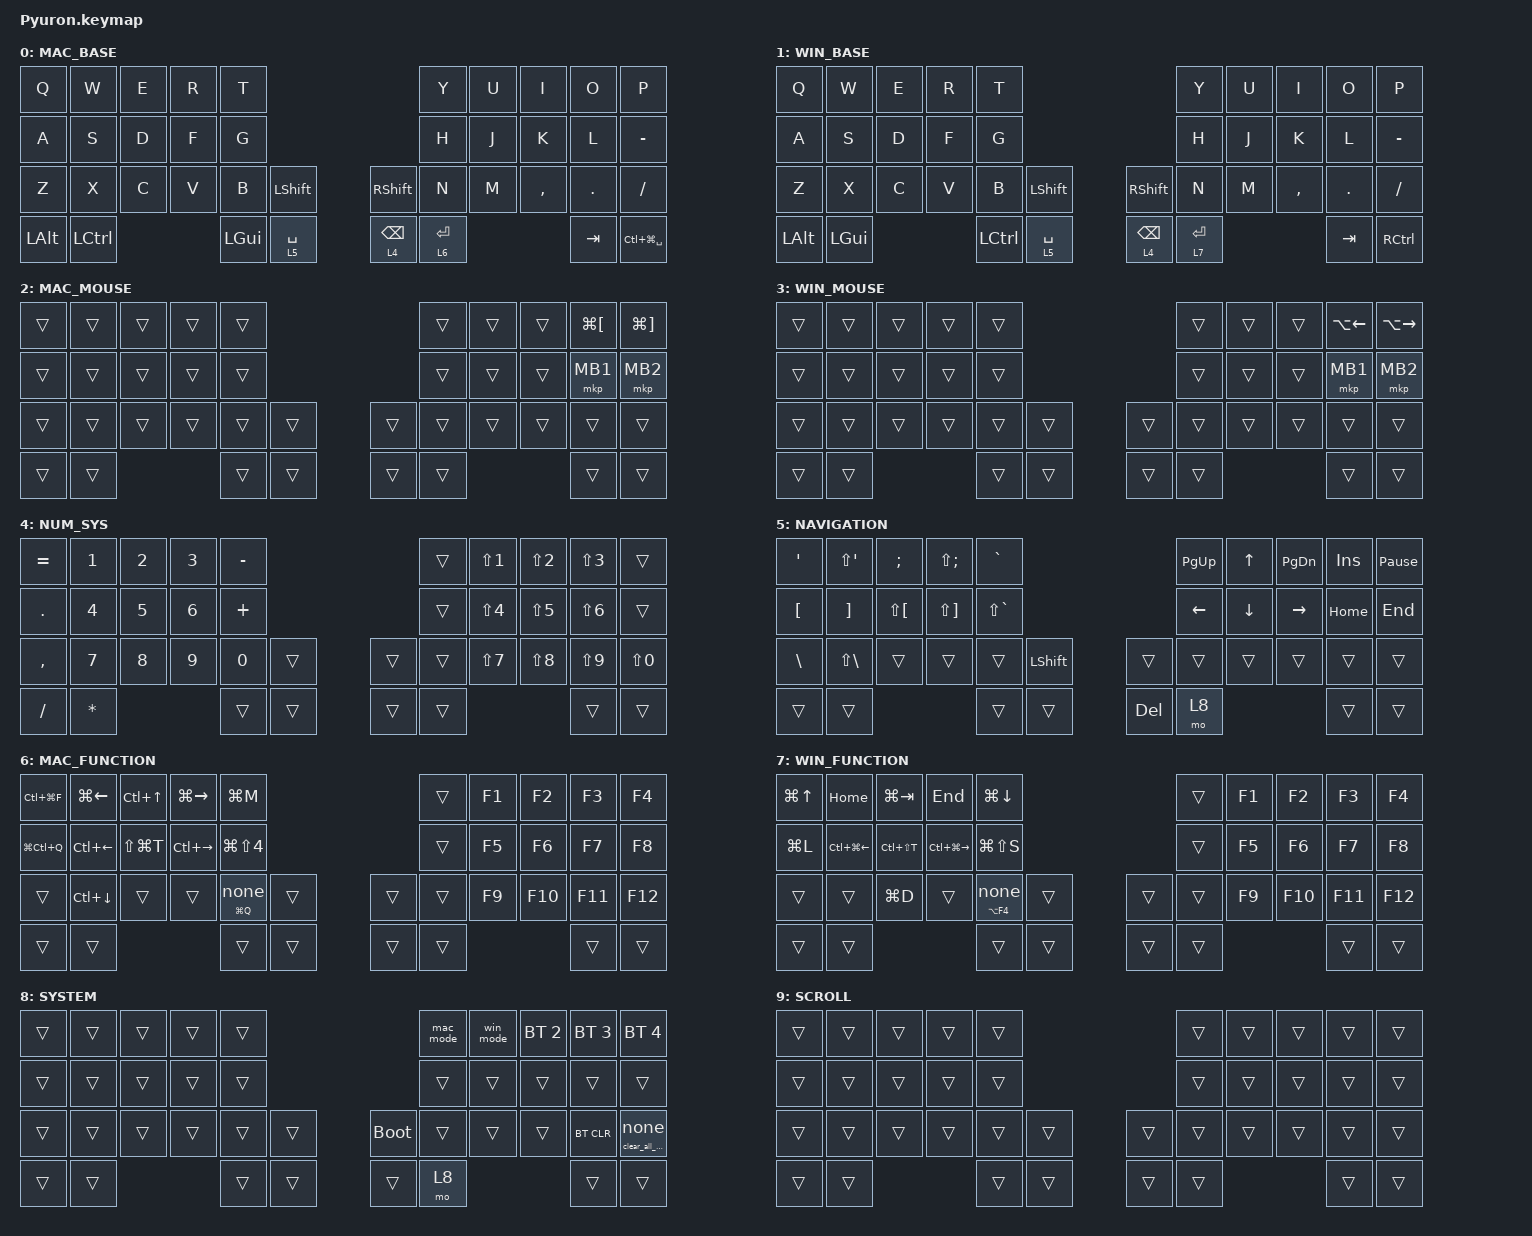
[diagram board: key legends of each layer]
#include <behaviors.dtsi>
#include <dt-bindings/zmk/bt.h>
#include <dt-bindings/zmk/keys.h>
#include <dt-bindings/zmk/pointing.h>

#define MOUSE 2

&zip_temp_layer {
    excluded-positions = <8 9 18 19 25 26 32 33 34 39>;
    require-prior-idle-ms = <200>;
};

/ {
    behaviors {
        // Require a full hold so a brief press cannot close the active work.
        exit_hold: exit_hold {
            compatible = "zmk,behavior-hold-tap";
            #binding-cells = <2>;
            flavor = "tap-preferred";
            tapping-term-ms = <1000>;
            bindings = <&kp>, <&none>;
        };

        // Destructive action must wait for the full hold even if another key is pressed.
        bt_clear_hold: bt_clear_hold {
            compatible = "zmk,behavior-hold-tap";
            #binding-cells = <2>;
            flavor = "tap-preferred";
            tapping-term-ms = <1500>;
            bindings = <&clear_all_bonds>, <&none>;
        };
    };

    combos {
        compatible = "zmk,combos";

        combo_esc {
            timeout-ms = <50>;
            key-positions = <0 1>;
            bindings = <&kp ESC>;
            layers = <0 1>;
        };

        combo_eisu {
            timeout-ms = <50>;
            key-positions = <11 12>;
            bindings = <&eisu_input>;
            layers = <0 1 2 3>;
        };

        combo_kana {
            timeout-ms = <50>;
            key-positions = <17 18>;
            bindings = <&kana_input>;
            layers = <0 1 2 3>;
        };

        combo_scroll {
            timeout-ms = <50>;
            key-positions = <18 19>;
            bindings = <&mo 9>;
            layers = <2 3>;
        };

    };

    macros {
        kana_input: kana_input {
            compatible = "zmk,behavior-macro";
            #binding-cells = <0>;
            wait-ms = <0>;
            tap-ms = <30>;
            // Return to typing immediately after selecting the input language.
            bindings = <&macro_tap &kp LANG1>, <&macro_release &mo MOUSE>;
        };

        eisu_input: eisu_input {
            compatible = "zmk,behavior-macro";
            #binding-cells = <0>;
            wait-ms = <0>;
            tap-ms = <30>;
            // Return to typing immediately after selecting the input language.
            bindings = <&macro_tap &kp LANG2>, <&macro_release &mo MOUSE>;
        };

        clear_all_bonds: clear_all_bonds {
            compatible = "zmk,behavior-macro";
            #binding-cells = <0>;
            bindings = <&bt BT_CLR_ALL>;
        };
        mac_mode: mac_mode {
            compatible = "zmk,behavior-macro";
            #binding-cells = <0>;
            bindings = <&bt BT_SEL 0>, <&macro_wait_time 200>, <&to 0>;
        };
        win_mode: win_mode {
            compatible = "zmk,behavior-macro";
            #binding-cells = <0>;
            bindings = <&bt BT_SEL 1>, <&macro_wait_time 200>, <&to 1>;
        };
    };

    // Windows overrides mouse shortcuts only while the mouse layer is active.
    conditional_layers {
        compatible = "zmk,conditional-layers";
        windows_mouse {
            if-layers = <1 2>;
            then-layer = <3>;
        };
    };

    // Utility layers override mouse bindings and suppress language combos while active.
    keymap {
        compatible = "zmk,keymap";

        MAC_BASE {
            bindings = <
&kp Q                    &kp W                    &kp E                    &kp R                    &kp T                    &kp Y                    &kp U                    &kp I                    &kp O                    &kp P
&kp A                    &kp S                    &kp D                    &kp F                    &kp G                    &kp H                    &kp J                    &kp K                    &kp L                    &kp MINUS
&kp Z                    &kp X                    &kp C                    &kp V                    &kp B                    &kp LEFT_SHIFT           &kp RIGHT_SHIFT          &kp N                    &kp M                    &kp COMMA
&kp DOT                  &kp SLASH                &kp LEFT_ALT             &kp LCTRL                &kp LGUI                 &lt 5 SPACE              &lt 4 BSPC               &lt 6 ENTER              &kp TAB                  &kp LC(LG(SPACE))
            >;
        };

        WIN_BASE {
            bindings = <
&kp Q                    &kp W                    &kp E                    &kp R                    &kp T                    &kp Y                    &kp U                    &kp I                    &kp O                    &kp P
&kp A                    &kp S                    &kp D                    &kp F                    &kp G                    &kp H                    &kp J                    &kp K                    &kp L                    &kp MINUS
&kp Z                    &kp X                    &kp C                    &kp V                    &kp B                    &kp LEFT_SHIFT           &kp RIGHT_SHIFT          &kp N                    &kp M                    &kp COMMA
&kp DOT                  &kp SLASH                &kp LEFT_ALT             &kp LGUI                 &kp LCTRL                &lt 5 SPACE              &lt 4 BSPC               &lt 7 ENTER              &kp TAB                  &kp RCTRL
            >;
        };

        MAC_MOUSE {
            bindings = <
&trans                   &trans                   &trans                   &trans                   &trans                   &trans                   &trans                   &trans                   &kp LG(LBKT)             &kp LG(RBKT)
&trans                   &trans                   &trans                   &trans                   &trans                   &trans                   &trans                   &trans                   &mkp MB1                 &mkp MB2
&trans                   &trans                   &trans                   &trans                   &trans                   &trans                   &trans                   &trans                   &trans                   &trans
&trans                   &trans                   &trans                   &trans                   &trans                   &trans                   &trans                   &trans                   &trans                   &trans
            >;
        };

        WIN_MOUSE {
            bindings = <
&trans                   &trans                   &trans                   &trans                   &trans                   &trans                   &trans                   &trans                   &kp LA(LEFT)             &kp LA(RIGHT)
&trans                   &trans                   &trans                   &trans                   &trans                   &trans                   &trans                   &trans                   &mkp MB1                 &mkp MB2
&trans                   &trans                   &trans                   &trans                   &trans                   &trans                   &trans                   &trans                   &trans                   &trans
&trans                   &trans                   &trans                   &trans                   &trans                   &trans                   &trans                   &trans                   &trans                   &trans
            >;
        };

        NUM_SYS {
            bindings = <
&kp EQUAL                &kp N1                   &kp N2                   &kp N3                   &kp MINUS                &trans                   &kp LS(N1)               &kp LS(N2)               &kp LS(N3)               &trans
&kp DOT                  &kp N4                   &kp N5                   &kp N6                   &kp PLUS                 &trans                   &kp LS(N4)               &kp LS(N5)               &kp LS(N6)               &trans
&kp COMMA                &kp N7                   &kp N8                   &kp N9                   &kp N0                   &trans                   &trans                   &trans                   &kp LS(N7)               &kp LS(N8)
&kp LS(N9)               &kp LS(N0)               &kp FSLH                 &kp ASTERISK             &trans                   &trans                   &trans                   &trans                   &trans                   &trans
            >;
        };

        NAVIGATION {
            bindings = <
&kp SINGLE_QUOTE         &kp LS(SINGLE_QUOTE)     &kp SEMICOLON            &kp LS(SEMICOLON)        &kp GRAVE                &kp PAGE_UP              &kp UP_ARROW             &kp PAGE_DOWN            &kp INSERT               &kp PAUSE_BREAK
&kp LBKT                 &kp RBKT                 &kp LS(LBKT)             &kp LS(RBKT)             &kp LS(GRAVE)            &kp LEFT                 &kp DOWN_ARROW           &kp RIGHT                &kp HOME                 &kp END
&kp BACKSLASH            &kp LS(BACKSLASH)        &trans                   &trans                   &trans                   &kp LEFT_SHIFT           &trans                   &trans                   &trans                   &trans
&trans                   &trans                   &trans                   &trans                   &trans                   &trans                   &kp DELETE               &mo 8                    &trans                   &trans
            >;
        };

        MAC_FUNCTION {
            bindings = <
&kp LC(LG(F))            &kp LG(LEFT_ARROW)       &kp LC(UP_ARROW)         &kp LG(RIGHT_ARROW)      &kp LG(M)                &trans                   &kp F1                   &kp F2                   &kp F3                   &kp F4
&kp LG(LC(Q))            &kp LC(LEFT)             &kp LS(LG(T))            &kp LC(RIGHT)            &kp LG(LS(NUMBER_4))     &trans                   &kp F5                   &kp F6                   &kp F7                   &kp F8
&trans                   &kp LC(DOWN_ARROW)       &trans                   &trans                   &exit_hold LG(Q) 0       &trans                   &trans                   &trans                   &kp F9                   &kp F10
&kp F11                  &kp F12                  &trans                   &trans                   &trans                   &trans                   &trans                   &trans                   &trans                   &trans
            >;
        };

        WIN_FUNCTION {
            bindings = <
&kp LG(UP)               &kp HOME                 &kp LG(TAB)              &kp END                  &kp LG(DOWN)             &trans                   &kp F1                   &kp F2                   &kp F3                   &kp F4
&kp LG(L)                &kp LC(LG(LEFT_ARROW))   &kp LC(LS(T))            &kp LC(LG(RIGHT_ARROW))  &kp LG(LS(S))            &trans                   &kp F5                   &kp F6                   &kp F7                   &kp F8
&trans                   &trans                   &kp LG(D)                &trans                   &exit_hold LA(F4) 0      &trans                   &trans                   &trans                   &kp F9                   &kp F10
&kp F11                  &kp F12                  &trans                   &trans                   &trans                   &trans                   &trans                   &trans                   &trans                   &trans
            >;
        };

        SYSTEM {
            bindings = <
&trans                   &trans                   &trans                   &trans                   &trans                   &mac_mode                &win_mode                &bt BT_SEL 2             &bt BT_SEL 3             &bt BT_SEL 4
&trans                   &trans                   &trans                   &trans                   &trans                   &trans                   &trans                   &trans                   &trans                   &trans
&trans                   &trans                   &trans                   &trans                   &trans                   &trans                   &bootloader              &trans                   &trans                   &trans
&bt BT_CLR               &bt_clear_hold 0 0       &trans                   &trans                   &trans                   &trans                   &trans                   &mo 8                    &trans                   &trans
            >;
        };

        // A momentary input-processing mode; ordinary keys keep their bindings.
        SCROLL {
            bindings = <
&trans &trans &trans &trans &trans &trans &trans &trans &trans &trans
&trans &trans &trans &trans &trans &trans &trans &trans &trans &trans
&trans &trans &trans &trans &trans &trans &trans &trans &trans &trans
&trans &trans &trans &trans &trans &trans &trans &trans &trans &trans
            >;
        };
    };
};
